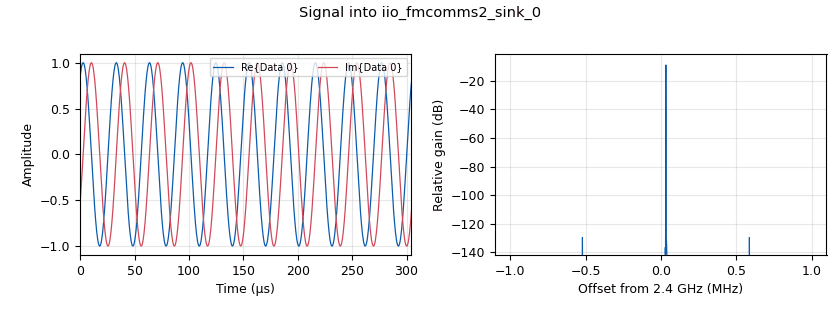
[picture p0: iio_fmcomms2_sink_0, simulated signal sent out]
options:
  parameters:
    category: Custom
    generate_options: qt_gui
    id: top_block
    output_language: python
  states: {}

blocks:
- name: period_samples
  id: variable
  parameters:
    value: '0x8000'
  states: {}
- name: samp_rate
  id: variable
  parameters:
    value: '2200000'
  states: {}
- name: analog_sig_source_x_0
  id: analog_sig_source_x
  parameters:
    amp: '1'
    freq: period_samples
    offset: '0'
    phase: '0'
    samp_rate: samp_rate
    type: complex
    waveform: analog.GR_SIN_WAVE
  states: {}
- name: iio_fmcomms2_sink_0
  id: iio_fmcomms2_sink
  parameters:
    bandwidth: '200000'
    buffer_size: period_samples
    cyclic: 'True'
    filter_source: '''Auto'''
    fpass: samp_rate/4
    frequency: '2400000000'
    fstop: samp_rate/3
    rf_port_select: '''A'''
    samplerate: samp_rate
    tx1_en: 'True'
    tx2_en: 'False'
    uri: uri
  states: {}
- name: iio_fmcomms2_source_0
  id: iio_fmcomms2_source
  parameters:
    bandwidth: '200000'
    bbdc: 'True'
    buffer_size: '0x8000'
    filter_source: '''Auto'''
    fpass: samp_rate/4
    frequency: '2400000000'
    fstop: samp_rate/3
    gain1: '''slow_attack'''
    quadrature: 'True'
    rf_port_select: '''A_BALANCED'''
    rfdc: 'True'
    rx1_en: 'True'
    rx2_en: 'False'
    samplerate: samp_rate
    uri: uri
  states: {}
- name: qtgui_sink_x_0
  id: qtgui_sink_x
  parameters:
    bw: samp_rate
    fc: '2400000000'
    fftsize: '1024'
    showports: 'True'
    type: complex
    wintype: firdes.WIN_BLACKMAN_hARRIS
  states: {}
- name: uri
  id: parameter
  parameters:
    label: URI
    value: '''ip:analog.local'''
  states: {}

connections:
- [analog_sig_source_x_0, '0', iio_fmcomms2_sink_0, '0']
- [iio_fmcomms2_source_0, '0', qtgui_sink_x_0, '0']

metadata:
  file_format: 1
